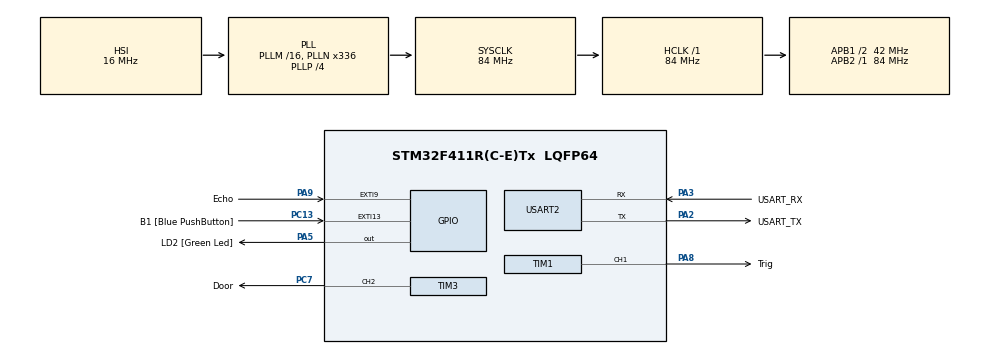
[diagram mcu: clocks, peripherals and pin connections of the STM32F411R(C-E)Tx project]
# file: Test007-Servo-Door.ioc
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Mcu.Family=STM32F4
Mcu.Name=STM32F411R(C-E)Tx
Mcu.Package=LQFP64
NVIC.EXTI9_5_IRQn=true\:0\:0\:false\:false\:true\:true\:true\:true
NVIC.PriorityGroup=NVIC_PRIORITYGROUP_0
PA13.GPIO_Label=TMS
PA13.Mode=Serial_Wire
PA13.Signal=SYS_JTMS-SWDIO
PA14.GPIO_Label=TCK
PA14.Mode=Serial_Wire
PA14.Signal=SYS_JTCK-SWCLK
PA2.GPIO_Label=USART_TX
PA2.Mode=Asynchronous
PA2.Signal=USART2_TX
PA3.GPIO_Label=USART_RX
PA3.Mode=Asynchronous
PA3.Signal=USART2_RX
PA5.GPIO_Label=LD2 [Green Led]
PA5.Signal=GPIO_Output
PA8.GPIO_Label=Trig
PA8.Signal=S_TIM1_CH1
PA9.GPIO_Label=Echo
PA9.GPIO_ModeDefaultEXTI=GPIO_MODE_IT_RISING_FALLING
PA9.Signal=GPXTI9
PB3.GPIO_Label=SWO
PB3.Signal=SYS_JTDO-SWO
PC13-ANTI_TAMP.GPIO_Label=B1 [Blue PushButton]
PC13-ANTI_TAMP.GPIO_ModeDefaultEXTI=GPIO_MODE_IT_FALLING
PC13-ANTI_TAMP.Signal=GPXTI13
PC14-OSC32_IN.Mode=LSE-External-Oscillator
PC14-OSC32_IN.Signal=RCC_OSC32_IN
PC15-OSC32_OUT.Mode=LSE-External-Oscillator
PC15-OSC32_OUT.Signal=RCC_OSC32_OUT
PC7.GPIO_Label=Door
PC7.Signal=S_TIM3_CH2
PH0\ -\ OSC_IN.Mode=HSE-External-Clock-Source
PH0\ -\ OSC_IN.Signal=RCC_OSC_IN
PH1\ -\ OSC_OUT.Mode=HSE-External-Clock-Source
PH1\ -\ OSC_OUT.Signal=RCC_OSC_OUT
ProjectManager.HeapSize=0x200
ProjectManager.StackSize=0x400
ProjectManager.TargetToolchain=STM32CubeIDE
RCC.48MHZClocksFreq_Value=84000000
RCC.AHBFreq_Value=84000000
RCC.APB1CLKDivider=RCC_HCLK_DIV2
RCC.APB1Freq_Value=42000000
RCC.APB1TimFreq_Value=84000000
RCC.APB2Freq_Value=84000000
RCC.APB2TimFreq_Value=84000000
RCC.CortexFreq_Value=84000000
RCC.FLatency-AdvancedSettings=FLASH_LATENCY_2
RCC.HCLKFreq_Value=84000000
RCC.HSE_VALUE=8000000
RCC.HSI_VALUE=16000000
RCC.PLLN=336
RCC.PLLP=RCC_PLLP_DIV4
RCC.SYSCLKFreq_VALUE=84000000
RCC.SYSCLKSource=RCC_SYSCLKSOURCE_PLLCLK
RCC.VCOOutputFreq_Value=336000000
SH.S_TIM1_CH1.0=TIM1_CH1,PWM Generation1 CH1
SH.S_TIM3_CH2.0=TIM3_CH2,PWM Generation2 CH2
TIM1.Channel-PWM\ Generation1\ CH1=TIM_CHANNEL_1
TIM1.Period=60000-1
TIM1.Prescaler=84-1
TIM2.Prescaler=84-1
TIM3.Channel-PWM\ Generation2\ CH2=TIM_CHANNEL_2
TIM3.Period=40000-1
TIM3.Prescaler=42-1
TIM3.Pulse-PWM\ Generation2\ CH2=1000
USART2.VirtualMode=VM_ASYNC
VP_TIM1_VS_ClockSourceINT.Mode=Internal
VP_TIM2_VS_ClockSourceINT.Mode=Internal
VP_TIM3_VS_ClockSourceINT.Mode=Internal
board=NUCLEO-F411RE

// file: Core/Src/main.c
/* USER CODE BEGIN Header */
/**
  ******************************************************************************
  * @file           : main.c
  * @brief          : Main program body
  ******************************************************************************
  * @attention
  *
  * Copyright (c) 2025 STMicroelectronics.
  * All rights reserved.
  *
  * This software is licensed under terms that can be found in the LICENSE file
  * in the root directory of this software component.
  * If no LICENSE file comes with this software, it is provided AS-IS.
  *
  ******************************************************************************
  */
/* USER CODE END Header */
#include "main.h"

TIM_HandleTypeDef htim1;
TIM_HandleTypeDef htim2;
TIM_HandleTypeDef htim3;

UART_HandleTypeDef huart2;

void SystemClock_Config(void);
static void MX_GPIO_Init(void);
static void MX_USART2_UART_Init(void);
static void MX_TIM3_Init(void);
static void MX_TIM1_Init(void);
static void MX_TIM2_Init(void);

/* USER CODE BEGIN 0 */
double dist = 0.0;
void HAL_GPIO_EXTI_Callback(uint16_t GPIO_Pin)
{
	switch(GPIO_Pin) {
	case Echo_Pin:
		if(HAL_GPIO_ReadPin(Echo_GPIO_Port, GPIO_Pin)) {
			htim2.Instance->CNT = 0;
		}
		else {
			if(htim2.Instance->CNT > 60000) {
				dist = -1;
			}
			else {
				dist = htim2.Instance->CNT * 0.17;
			}
		}
		break;
	}
}
/* USER CODE END 0 */

int main(void)
{

  /* MCU Configuration--------------------------------------------------------*/

  /* Reset of all peripherals, Initializes the Flash interface and the Systick. */
  HAL_Init();

  /* Configure the system clock */
  SystemClock_Config();

  /* Initialize all configured peripherals */
  MX_GPIO_Init();
  MX_USART2_UART_Init();
  MX_TIM3_Init();
  MX_TIM1_Init();
  MX_TIM2_Init();
  /* USER CODE BEGIN 2 */
  ProgramStart("Motor Control - Door (Using Servo, Ultra Sonic Sensor)");
  HAL_TIM_PWM_Start(&htim1, TIM_CHANNEL_1);
  HAL_TIM_Base_Start(&htim2);
  HAL_TIM_PWM_Start(&htim3, TIM_CHANNEL_2);
  /* USER CODE END 2 */

  /* Infinite loop */
  /* USER CODE BEGIN WHILE */
  int min = 850, max = 5150;
  htim1.Instance->CCR1 = 10;
  while (1)
  {
	  Cursor(0, 5);
	  printf("Distance : %7.2f\r\n", dist);
	  if(dist < 0) {
		  htim3.Instance->CCR2 = min;
	  }
	  else if(dist < 500) {
		  htim3.Instance->CCR2 = max;
	  }
	  else {
		  htim3.Instance->CCR2 = min;
	  }
	  HAL_Delay(20);
    /* USER CODE END WHILE */

  }
}

void SystemClock_Config(void)
{
  RCC_OscInitTypeDef RCC_OscInitStruct = {0};
  RCC_ClkInitTypeDef RCC_ClkInitStruct = {0};

  /** Configure the main internal regulator output voltage
  */
  __HAL_RCC_PWR_CLK_ENABLE();
  __HAL_PWR_VOLTAGESCALING_CONFIG(PWR_REGULATOR_VOLTAGE_SCALE1);

  /** Initializes the RCC Oscillators according to the specified parameters
  * in the RCC_OscInitTypeDef structure.
  */
  RCC_OscInitStruct.OscillatorType = RCC_OSCILLATORTYPE_HSI;
  RCC_OscInitStruct.HSIState = RCC_HSI_ON;
  RCC_OscInitStruct.HSICalibrationValue = RCC_HSICALIBRATION_DEFAULT;
  RCC_OscInitStruct.PLL.PLLState = RCC_PLL_ON;
  RCC_OscInitStruct.PLL.PLLSource = RCC_PLLSOURCE_HSI;
  RCC_OscInitStruct.PLL.PLLM = 16;
  RCC_OscInitStruct.PLL.PLLN = 336;
  RCC_OscInitStruct.PLL.PLLP = RCC_PLLP_DIV4;
  RCC_OscInitStruct.PLL.PLLQ = 4;
  if (HAL_RCC_OscConfig(&RCC_OscInitStruct) != HAL_OK)
  {
    Error_Handler();
  }

  /** Initializes the CPU, AHB and APB buses clocks
  */
  RCC_ClkInitStruct.ClockType = RCC_CLOCKTYPE_HCLK|RCC_CLOCKTYPE_SYSCLK
                              |RCC_CLOCKTYPE_PCLK1|RCC_CLOCKTYPE_PCLK2;
  RCC_ClkInitStruct.SYSCLKSource = RCC_SYSCLKSOURCE_PLLCLK;
  RCC_ClkInitStruct.AHBCLKDivider = RCC_SYSCLK_DIV1;
  RCC_ClkInitStruct.APB1CLKDivider = RCC_HCLK_DIV2;
  RCC_ClkInitStruct.APB2CLKDivider = RCC_HCLK_DIV1;

  if (HAL_RCC_ClockConfig(&RCC_ClkInitStruct, FLASH_LATENCY_2) != HAL_OK)
  {
    Error_Handler();
  }
}

static void MX_TIM1_Init(void)
{

  TIM_ClockConfigTypeDef sClockSourceConfig = {0};
  TIM_MasterConfigTypeDef sMasterConfig = {0};
  TIM_OC_InitTypeDef sConfigOC = {0};
  TIM_BreakDeadTimeConfigTypeDef sBreakDeadTimeConfig = {0};

  htim1.Instance = TIM1;
  htim1.Init.Prescaler = 84-1;
  htim1.Init.CounterMode = TIM_COUNTERMODE_UP;
  htim1.Init.Period = 60000-1;
  htim1.Init.ClockDivision = TIM_CLOCKDIVISION_DIV1;
  htim1.Init.RepetitionCounter = 0;
  htim1.Init.AutoReloadPreload = TIM_AUTORELOAD_PRELOAD_DISABLE;
  if (HAL_TIM_Base_Init(&htim1) != HAL_OK)
  {
    Error_Handler();
  }
  sClockSourceConfig.ClockSource = TIM_CLOCKSOURCE_INTERNAL;
  if (HAL_TIM_ConfigClockSource(&htim1, &sClockSourceConfig) != HAL_OK)
  {
    Error_Handler();
  }
  if (HAL_TIM_PWM_Init(&htim1) != HAL_OK)
  {
    Error_Handler();
  }
  sMasterConfig.MasterOutputTrigger = TIM_TRGO_RESET;
  sMasterConfig.MasterSlaveMode = TIM_MASTERSLAVEMODE_DISABLE;
  if (HAL_TIMEx_MasterConfigSynchronization(&htim1, &sMasterConfig) != HAL_OK)
  {
    Error_Handler();
  }
  sConfigOC.OCMode = TIM_OCMODE_PWM1;
  sConfigOC.Pulse = 0;
  sConfigOC.OCPolarity = TIM_OCPOLARITY_HIGH;
  sConfigOC.OCNPolarity = TIM_OCNPOLARITY_HIGH;
  sConfigOC.OCFastMode = TIM_OCFAST_DISABLE;
  sConfigOC.OCIdleState = TIM_OCIDLESTATE_RESET;
  sConfigOC.OCNIdleState = TIM_OCNIDLESTATE_RESET;
  if (HAL_TIM_PWM_ConfigChannel(&htim1, &sConfigOC, TIM_CHANNEL_1) != HAL_OK)
  {
    Error_Handler();
  }
  sBreakDeadTimeConfig.OffStateRunMode = TIM_OSSR_DISABLE;
  sBreakDeadTimeConfig.OffStateIDLEMode = TIM_OSSI_DISABLE;
  sBreakDeadTimeConfig.LockLevel = TIM_LOCKLEVEL_OFF;
  sBreakDeadTimeConfig.DeadTime = 0;
  sBreakDeadTimeConfig.BreakState = TIM_BREAK_DISABLE;
  sBreakDeadTimeConfig.BreakPolarity = TIM_BREAKPOLARITY_HIGH;
  sBreakDeadTimeConfig.AutomaticOutput = TIM_AUTOMATICOUTPUT_DISABLE;
  if (HAL_TIMEx_ConfigBreakDeadTime(&htim1, &sBreakDeadTimeConfig) != HAL_OK)
  {
    Error_Handler();
  }
  HAL_TIM_MspPostInit(&htim1);

}

static void MX_TIM2_Init(void)
{

  TIM_ClockConfigTypeDef sClockSourceConfig = {0};
  TIM_MasterConfigTypeDef sMasterConfig = {0};

  htim2.Instance = TIM2;
  htim2.Init.Prescaler = 84-1;
  htim2.Init.CounterMode = TIM_COUNTERMODE_UP;
  htim2.Init.Period = 4294967295;
  htim2.Init.ClockDivision = TIM_CLOCKDIVISION_DIV1;
  htim2.Init.AutoReloadPreload = TIM_AUTORELOAD_PRELOAD_DISABLE;
  if (HAL_TIM_Base_Init(&htim2) != HAL_OK)
  {
    Error_Handler();
  }
  sClockSourceConfig.ClockSource = TIM_CLOCKSOURCE_INTERNAL;
  if (HAL_TIM_ConfigClockSource(&htim2, &sClockSourceConfig) != HAL_OK)
  {
    Error_Handler();
  }
  sMasterConfig.MasterOutputTrigger = TIM_TRGO_RESET;
  sMasterConfig.MasterSlaveMode = TIM_MASTERSLAVEMODE_DISABLE;
  if (HAL_TIMEx_MasterConfigSynchronization(&htim2, &sMasterConfig) != HAL_OK)
  {
    Error_Handler();
  }

}

static void MX_TIM3_Init(void)
{

  TIM_ClockConfigTypeDef sClockSourceConfig = {0};
  TIM_MasterConfigTypeDef sMasterConfig = {0};
  TIM_OC_InitTypeDef sConfigOC = {0};

  htim3.Instance = TIM3;
  htim3.Init.Prescaler = 42-1;
  htim3.Init.CounterMode = TIM_COUNTERMODE_UP;
  htim3.Init.Period = 40000-1;
  htim3.Init.ClockDivision = TIM_CLOCKDIVISION_DIV1;
  htim3.Init.AutoReloadPreload = TIM_AUTORELOAD_PRELOAD_DISABLE;
  if (HAL_TIM_Base_Init(&htim3) != HAL_OK)
  {
    Error_Handler();
  }
  sClockSourceConfig.ClockSource = TIM_CLOCKSOURCE_INTERNAL;
  if (HAL_TIM_ConfigClockSource(&htim3, &sClockSourceConfig) != HAL_OK)
  {
    Error_Handler();
  }
  if (HAL_TIM_PWM_Init(&htim3) != HAL_OK)
  {
    Error_Handler();
  }
  sMasterConfig.MasterOutputTrigger = TIM_TRGO_RESET;
  sMasterConfig.MasterSlaveMode = TIM_MASTERSLAVEMODE_DISABLE;
  if (HAL_TIMEx_MasterConfigSynchronization(&htim3, &sMasterConfig) != HAL_OK)
  {
    Error_Handler();
  }
  sConfigOC.OCMode = TIM_OCMODE_PWM1;
  sConfigOC.Pulse = 1000;
  sConfigOC.OCPolarity = TIM_OCPOLARITY_HIGH;
  sConfigOC.OCFastMode = TIM_OCFAST_DISABLE;
  if (HAL_TIM_PWM_ConfigChannel(&htim3, &sConfigOC, TIM_CHANNEL_2) != HAL_OK)
  {
    Error_Handler();
  }
  HAL_TIM_MspPostInit(&htim3);

}

static void MX_USART2_UART_Init(void)
{

  huart2.Instance = USART2;
  huart2.Init.BaudRate = 115200;
  huart2.Init.WordLength = UART_WORDLENGTH_8B;
  huart2.Init.StopBits = UART_STOPBITS_1;
  huart2.Init.Parity = UART_PARITY_NONE;
  huart2.Init.Mode = UART_MODE_TX_RX;
  huart2.Init.HwFlowCtl = UART_HWCONTROL_NONE;
  huart2.Init.OverSampling = UART_OVERSAMPLING_16;
  if (HAL_UART_Init(&huart2) != HAL_OK)
  {
    Error_Handler();
  }

}

static void MX_GPIO_Init(void)
{
  GPIO_InitTypeDef GPIO_InitStruct = {0};

  /* GPIO Ports Clock Enable */
  __HAL_RCC_GPIOC_CLK_ENABLE();
  __HAL_RCC_GPIOH_CLK_ENABLE();
  __HAL_RCC_GPIOA_CLK_ENABLE();
  __HAL_RCC_GPIOB_CLK_ENABLE();

  /*Configure GPIO pin Output Level */
  HAL_GPIO_WritePin(LD2_GPIO_Port, LD2_Pin, GPIO_PIN_RESET);

  /*Configure GPIO pin : B1_Pin */
  GPIO_InitStruct.Pin = B1_Pin;
  GPIO_InitStruct.Mode = GPIO_MODE_IT_FALLING;
  GPIO_InitStruct.Pull = GPIO_NOPULL;
  HAL_GPIO_Init(B1_GPIO_Port, &GPIO_InitStruct);

  /*Configure GPIO pin : LD2_Pin */
  GPIO_InitStruct.Pin = LD2_Pin;
  GPIO_InitStruct.Mode = GPIO_MODE_OUTPUT_PP;
  GPIO_InitStruct.Pull = GPIO_NOPULL;
  GPIO_InitStruct.Speed = GPIO_SPEED_FREQ_LOW;
  HAL_GPIO_Init(LD2_GPIO_Port, &GPIO_InitStruct);

  /*Configure GPIO pin : Echo_Pin */
  GPIO_InitStruct.Pin = Echo_Pin;
  GPIO_InitStruct.Mode = GPIO_MODE_IT_RISING_FALLING;
  GPIO_InitStruct.Pull = GPIO_NOPULL;
  HAL_GPIO_Init(Echo_GPIO_Port, &GPIO_InitStruct);

  /* EXTI interrupt init*/
  HAL_NVIC_SetPriority(EXTI9_5_IRQn, 0, 0);
  HAL_NVIC_EnableIRQ(EXTI9_5_IRQn);

}

void Error_Handler(void)
{
  __disable_irq();
  while (1)
  {
  }
}
